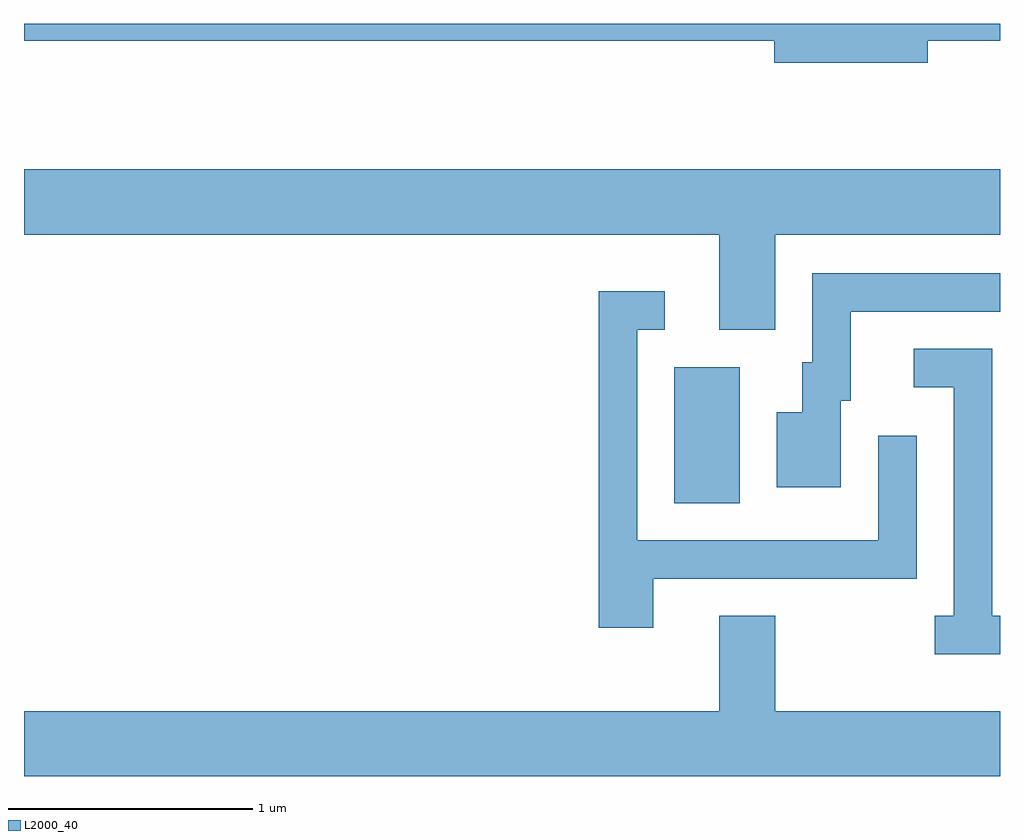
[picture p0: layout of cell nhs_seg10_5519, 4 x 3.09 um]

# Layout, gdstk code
import gdstk
lib = gdstk.Library(unit=1e-6, precision=1e-09)
def R(c, l, rs):  # rectangles x0, y0, x1, y1
    for r in rs: c.add(gdstk.rectangle(r[:2], r[2:], *l))
def P(c, l, *ps):  # polygons
    for p in ps: c.add(gdstk.Polygon(p, *l))
L2000_40 = (2000, 40)

nhs_seg10_5519 = lib.new_cell('nhs_seg10_5519')
R(nhs_seg10_5519, L2000_40, [(350.276,2150.556,350.544,2151.114)])
P(nhs_seg10_5519, L2000_40, [(351.314,2152.451),(351.611,2152.451),(351.611,2152.522),(347.611,2152.522),(347.611,2152.451),(350.686,2152.451),(350.686,2152.361),(351.314,2152.361)],
  [(350.689,2151.656),(351.611,2151.656),(351.611,2151.924),(347.611,2151.924),(347.611,2151.656),(350.461,2151.656),(350.461,2151.266),(350.689,2151.266)],
  [(350.959,2150.976),(350.999,2150.976),(350.999,2151.341),(351.611,2151.341),(351.611,2151.499),(350.841,2151.499),(350.841,2151.134),(350.801,2151.134),(350.801,2150.929),(350.696,2150.929),(350.696,2150.621),(350.959,2150.621)],
  [(350.189,2150.246),(351.269,2150.246),(351.269,2150.833),(351.111,2150.833),(351.111,2150.404),(350.124,2150.404),(350.124,2151.266),(350.238,2151.266),(350.238,2151.424),(349.966,2151.424),(349.966,2150.046),(350.189,2150.046)],
  [(351.611,2150.094),(351.579,2150.094),(351.579,2151.189),(351.258,2151.189),(351.258,2151.031),(351.421,2151.031),(351.421,2150.094),(351.343,2150.094),(351.343,2149.936),(351.611,2149.936)],
  [(351.611,2149.704),(350.689,2149.704),(350.689,2150.094),(350.461,2150.094),(350.461,2149.704),(347.611,2149.704),(347.611,2149.436),(351.611,2149.436)])

lib.write_gds('nhs_seg10_5519.gds')
